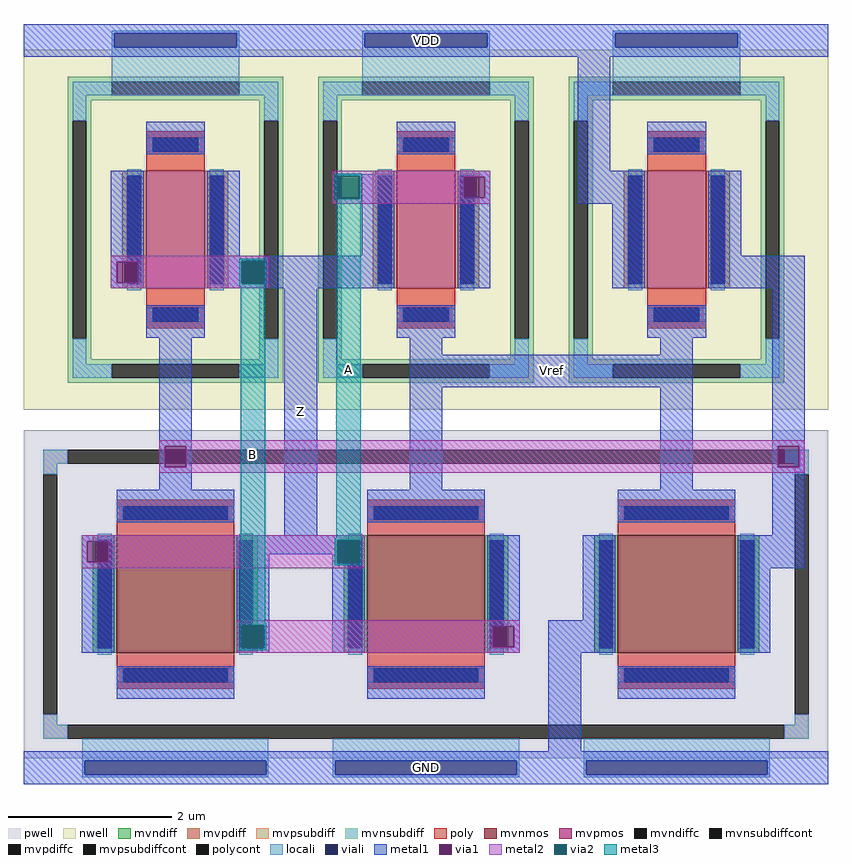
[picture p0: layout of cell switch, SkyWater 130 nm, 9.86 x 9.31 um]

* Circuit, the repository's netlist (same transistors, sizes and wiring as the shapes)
** sch_path: /foss/designs/layout/switch.sch
.subckt switch Vref Z A B VDD GND
*.PININFO Vref:I Z:B A:B B:B VDD:I GND:I
XM2 Z Vref B GND sky130_fd_pr__nfet_g5v0d10v5 L=1.44 W=1.44 nf=1 m=1
XM1 B net1 Z VDD sky130_fd_pr__pfet_g5v0d10v5 L=0.720 W=1.44 nf=1 m=1
XM3 A Vref Z VDD sky130_fd_pr__pfet_g5v0d10v5 L=0.720 W=1.44 nf=1 m=1
XM5 net1 Vref VDD VDD sky130_fd_pr__pfet_g5v0d10v5 L=0.720 W=1.44 nf=1 m=1
XM4 Z net1 A GND sky130_fd_pr__nfet_g5v0d10v5 L=1.44 W=1.44 nf=1 m=1
XM6 net1 Vref GND GND sky130_fd_pr__nfet_g5v0d10v5 L=1.44 W=1.44 nf=1 m=1
.ends
.end

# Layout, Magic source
magic
tech sky130A
magscale 1 2
<< nwell >>
rect 1296 -684 1338 198
rect 1961 -503 1989 -3
rect 2072 -234 2460 -66
rect 3226 -684 3268 198
<< pwell >>
rect 3135 -834 3205 -764
rect 1438 -1072 1518 -992
rect 2432 -1280 2512 -1200
<< mvpsubdiff >>
rect 1344 -816 1404 -782
rect 3160 -816 3220 -782
rect 1344 -842 1378 -816
rect 1344 -1456 1378 -1430
rect 3186 -842 3220 -816
rect 3186 -1456 3220 -1430
rect 1344 -1490 1404 -1456
rect 3160 -1490 3220 -1456
<< mvpsubdiffcont >>
rect 1404 -816 3160 -782
rect 1344 -1430 1378 -842
rect 3186 -1430 3220 -842
rect 1404 -1490 3160 -1456
<< locali >>
rect 1512 238 1824 244
rect 1512 204 1518 238
rect 1818 204 1824 238
rect 1512 86 1824 204
rect 2126 238 2438 244
rect 2126 204 2132 238
rect 2432 204 2438 238
rect 2126 86 2438 204
rect 2740 238 3052 244
rect 2740 204 2746 238
rect 3046 204 3052 238
rect 2740 86 3052 204
rect 1344 -816 1404 -782
rect 3160 -816 3220 -782
rect 1344 -842 1378 -816
rect 1344 -1456 1378 -1430
rect 3186 -842 3220 -816
rect 3186 -1456 3220 -1430
rect 1344 -1490 1404 -1456
rect 3160 -1490 3220 -1456
rect 1440 -1544 1896 -1490
rect 1440 -1578 1446 -1544
rect 1890 -1578 1896 -1544
rect 1440 -1584 1896 -1578
rect 2054 -1544 2510 -1490
rect 2054 -1578 2060 -1544
rect 2504 -1578 2510 -1544
rect 2054 -1584 2510 -1578
rect 2668 -1544 3124 -1490
rect 2668 -1578 2674 -1544
rect 3118 -1578 3124 -1544
rect 2668 -1584 3124 -1578
<< viali >>
rect 1518 204 1818 238
rect 2132 204 2432 238
rect 2746 204 3046 238
rect 1446 -1578 1890 -1544
rect 2060 -1578 2504 -1544
rect 2674 -1578 3118 -1544
<< metal1 >>
rect 1296 238 3268 261
rect 1296 204 1518 238
rect 1818 204 2132 238
rect 2432 204 2746 238
rect 3046 204 3268 238
rect 1296 181 3268 204
rect 1596 -58 1740 22
rect 2210 -58 2354 22
rect 2654 -99 2734 181
rect 2824 -58 2968 22
rect 1510 -321 1590 -99
rect 1510 -373 1524 -321
rect 1576 -373 1590 -321
rect 1510 -387 1590 -373
rect 1746 -307 1826 -99
rect 2160 -107 2204 -99
rect 2124 -307 2204 -107
rect 1746 -387 2204 -307
rect 2360 -113 2440 -99
rect 2360 -165 2374 -113
rect 2426 -165 2440 -113
rect 2360 -387 2440 -165
rect 2654 -179 2818 -99
rect 2738 -387 2818 -179
rect 2974 -307 3054 -99
rect 2974 -387 3210 -307
rect 1596 -508 1740 -428
rect 1628 -773 1708 -508
rect 1628 -825 1642 -773
rect 1694 -825 1708 -773
rect 1628 -880 1708 -825
rect 1524 -960 1812 -880
rect 1935 -992 2015 -387
rect 2210 -508 2354 -428
rect 2824 -508 2968 -428
rect 2242 -549 2322 -508
rect 2856 -549 2936 -508
rect 2242 -629 2936 -549
rect 2242 -880 2322 -629
rect 2856 -880 2936 -629
rect 3130 -773 3210 -387
rect 3130 -825 3144 -773
rect 3196 -825 3210 -773
rect 2138 -960 2426 -880
rect 2752 -960 3040 -880
rect 3130 -992 3210 -825
rect 1438 -1006 1518 -992
rect 1438 -1058 1452 -1006
rect 1504 -1058 1518 -1006
rect 1438 -1280 1518 -1058
rect 1818 -1038 2132 -992
rect 1818 -1280 1898 -1038
rect 2052 -1280 2132 -1038
rect 2432 -1214 2512 -992
rect 2666 -1200 2746 -992
rect 2432 -1266 2446 -1214
rect 2498 -1266 2512 -1214
rect 2432 -1280 2512 -1266
rect 2582 -1280 2746 -1200
rect 3046 -1072 3210 -992
rect 3046 -1280 3126 -1072
rect 1524 -1392 1812 -1312
rect 2138 -1392 2426 -1312
rect 2582 -1521 2662 -1280
rect 2752 -1392 3040 -1312
rect 1296 -1544 3268 -1521
rect 1296 -1578 1446 -1544
rect 1890 -1578 2060 -1544
rect 2504 -1578 2674 -1544
rect 3118 -1578 3268 -1544
rect 1296 -1601 3268 -1578
<< via1 >>
rect 1524 -373 1576 -321
rect 2374 -165 2426 -113
rect 1642 -825 1694 -773
rect 3144 -825 3196 -773
rect 1452 -1058 1504 -1006
rect 2446 -1266 2498 -1214
<< metal2 >>
rect 2052 -111 2440 -99
rect 2052 -167 2064 -111
rect 2120 -113 2440 -111
rect 2120 -165 2374 -113
rect 2426 -165 2440 -113
rect 2120 -167 2440 -165
rect 2052 -179 2440 -167
rect 1510 -319 1898 -307
rect 1510 -321 1830 -319
rect 1510 -373 1524 -321
rect 1576 -373 1830 -321
rect 1510 -375 1830 -373
rect 1886 -375 1898 -319
rect 1510 -387 1898 -375
rect 1628 -773 3210 -759
rect 1628 -825 1642 -773
rect 1694 -825 3144 -773
rect 3196 -825 3210 -773
rect 1628 -839 3210 -825
rect 1438 -1004 2132 -992
rect 1438 -1006 2064 -1004
rect 1438 -1058 1452 -1006
rect 1504 -1058 2064 -1006
rect 1438 -1060 2064 -1058
rect 2120 -1060 2132 -1004
rect 1438 -1072 2132 -1060
rect 1818 -1212 2512 -1200
rect 1818 -1268 1830 -1212
rect 1886 -1214 2512 -1212
rect 1886 -1266 2446 -1214
rect 2498 -1266 2512 -1214
rect 1886 -1268 2512 -1266
rect 1818 -1280 2512 -1268
<< via2 >>
rect 2064 -167 2120 -111
rect 1830 -375 1886 -319
rect 2064 -1060 2120 -1004
rect 1830 -1268 1886 -1212
<< metal3 >>
rect 2059 -111 2125 -106
rect 2059 -167 2064 -111
rect 2120 -167 2125 -111
rect 2059 -172 2125 -167
rect 1825 -319 1891 -314
rect 1825 -375 1830 -319
rect 1886 -375 1891 -319
rect 1825 -380 1891 -375
rect 1828 -1207 1888 -380
rect 2062 -999 2122 -172
rect 2059 -1004 2125 -999
rect 2059 -1060 2064 -1004
rect 2120 -1060 2125 -1004
rect 2059 -1065 2125 -1060
rect 1825 -1212 1891 -1207
rect 1825 -1268 1830 -1212
rect 1886 -1268 1891 -1212
rect 1825 -1273 1891 -1268
use sky130_fd_pr__pfet_g5v0d10v5_CY7YBN  XM1
transform 1 0 1668 0 1 -243
box -330 -441 330 441
use sky130_fd_pr__nfet_g5v0d10v5_3Y2F6P  XM2
transform 1 0 2282 0 1 -1136
box -372 -402 372 402
use sky130_fd_pr__pfet_g5v0d10v5_CY7YBN  XM3
transform 1 0 2282 0 1 -243
box -330 -441 330 441
use sky130_fd_pr__nfet_g5v0d10v5_3Y2F6P  XM4
transform 1 0 1668 0 1 -1136
box -372 -402 372 402
use sky130_fd_pr__pfet_g5v0d10v5_CY7YBN  XM5
transform 1 0 2896 0 1 -243
box -330 -441 330 441
use sky130_fd_pr__nfet_g5v0d10v5_3Y2F6P  XM6
transform 1 0 2896 0 1 -1136
box -372 -402 372 402
<< labels >>
flabel metal1 1296 -1584 3268 -1538 0 FreeSans 160 0 0 0 GND
port 2 nsew
flabel metal1 1296 198 3268 244 0 FreeSans 160 0 0 0 VDD
port 3 nsew
flabel metal1 2259 -612 2919 -566 0 FreeSans 160 0 0 0 Vref
port 4 nsew
flabel metal1 1952 -1038 1998 -341 0 FreeSans 160 0 0 0 Z
port 5 nsew
flabel metal3 1828 -1212 1888 -375 0 FreeSans 160 0 0 0 B
port 1 nsew
flabel metal3 2062 -1004 2122 -167 0 FreeSans 160 0 0 0 A
port 0 nsew
<< end >>

# cell sky130_fd_pr__pfet_g5v0d10v5_CY7YBN: kit device sky130_fd_pr__pfet_g5v0d10v5, w 1.44 l 0.72 m 1 nf 1 diffcov 100 polycov 100 guard 1 glc 1 grc 1 gtc 1 gbc 1 tbcov 100 rlcov 100 topc 1 botc 1 poverlap 0 doverlap 1 lmin 0.50 wmin 0.42 class mosfet compatible {sky130_fd_pr__pfet_01v8 sky130_fd_pr__pfet_01v8_lvt sky130_fd_pr__pfet_01v8_hvt sky130_fd_pr__pfet_g5v0d10v5} full_metal 1 viasrc 100 viadrn 100 viagate 100 viagb 0 viagr 0 viagl 0 viagt 0

# cell sky130_fd_pr__nfet_g5v0d10v5_3Y2F6P: kit device sky130_fd_pr__nfet_g5v0d10v5, w 1.44 l 1.44 m 1 nf 1 diffcov 100 polycov 100 guard 1 glc 1 grc 1 gtc 1 gbc 1 tbcov 100 rlcov 100 topc 1 botc 1 poverlap 0 doverlap 1 lmin 0.50 wmin 0.42 class mosfet compatible {sky130_fd_pr__nfet_01v8 sky130_fd_pr__nfet_01v8_lvt sky130_fd_bs_flash__special_sonosfet_star sky130_fd_pr__nfet_g5v0d10v5 sky130_fd_pr__nfet_05v0_nvt sky130_fd_pr__nfet_03v3_nvt} full_metal 1 viasrc 100 viadrn 100 viagate 100 viagb 0 viagr 0 viagl 0 viagt 0
